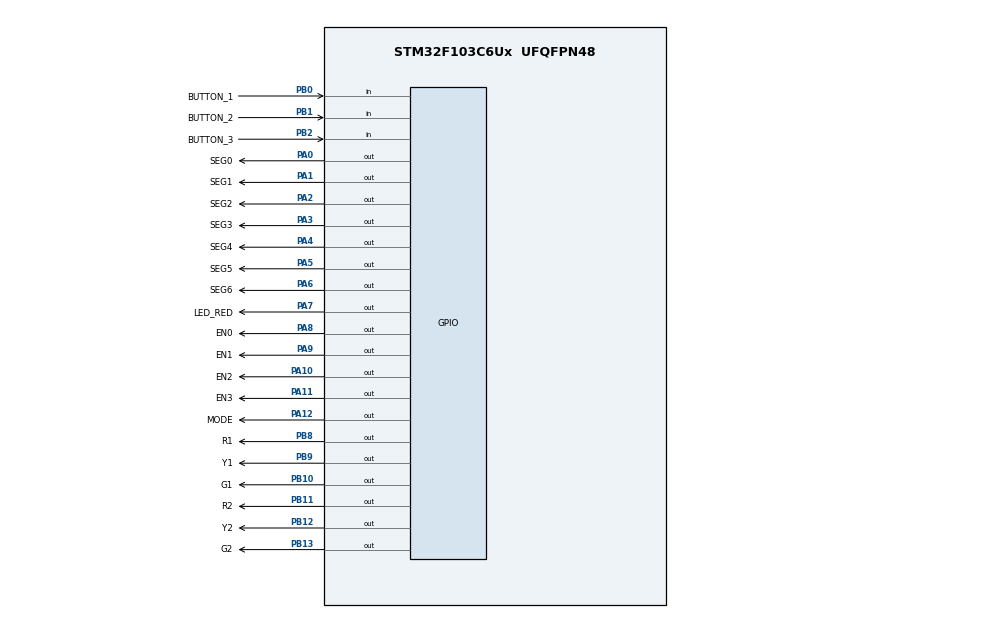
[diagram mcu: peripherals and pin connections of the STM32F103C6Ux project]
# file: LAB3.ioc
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Mcu.Family=STM32F1
Mcu.Name=STM32F103C6Ux
Mcu.Package=UFQFPN48
NVIC.PriorityGroup=NVIC_PRIORITYGROUP_4
NVIC.TIM2_IRQn=true\:0\:0\:false\:false\:true\:true\:true
PA0-WKUP.GPIO_Label=SEG0
PA0-WKUP.Signal=GPIO_Output
PA1.GPIO_Label=SEG1
PA1.Signal=GPIO_Output
PA10.GPIO_Label=EN2
PA10.Signal=GPIO_Output
PA11.GPIO_Label=EN3
PA11.Signal=GPIO_Output
PA12.GPIO_Label=MODE
PA12.Signal=GPIO_Output
PA2.GPIO_Label=SEG2
PA2.Signal=GPIO_Output
PA3.GPIO_Label=SEG3
PA3.Signal=GPIO_Output
PA4.GPIO_Label=SEG4
PA4.Signal=GPIO_Output
PA5.GPIO_Label=SEG5
PA5.Signal=GPIO_Output
PA6.GPIO_Label=SEG6
PA6.Signal=GPIO_Output
PA7.GPIO_Label=LED_RED
PA7.Signal=GPIO_Output
PA8.GPIO_Label=EN0
PA8.Signal=GPIO_Output
PA9.GPIO_Label=EN1
PA9.Signal=GPIO_Output
PB0.GPIO_Label=BUTTON_1
PB0.GPIO_PuPd=GPIO_PULLUP
PB0.Signal=GPIO_Input
PB1.GPIO_Label=BUTTON_2
PB1.GPIO_PuPd=GPIO_PULLUP
PB1.Signal=GPIO_Input
PB10.GPIO_Label=G1
PB10.Signal=GPIO_Output
PB11.GPIO_Label=R2
PB11.Signal=GPIO_Output
PB12.GPIO_Label=Y2
PB12.Signal=GPIO_Output
PB13.GPIO_Label=G2
PB13.Signal=GPIO_Output
PB2.GPIO_Label=BUTTON_3
PB2.GPIO_PuPd=GPIO_PULLUP
PB2.Signal=GPIO_Input
PB8.GPIO_Label=R1
PB8.Signal=GPIO_Output
PB9.GPIO_Label=Y1
PB9.Signal=GPIO_Output
ProjectManager.HeapSize=0x200
ProjectManager.StackSize=0x400
ProjectManager.TargetToolchain=STM32CubeIDE
RCC.APB1Freq_Value=8000000
RCC.APB2Freq_Value=8000000
TIM2.Period=9
TIM2.Prescaler=7999
VP_SYS_VS_ND.Mode=No_Debug
VP_TIM2_VS_ClockSourceINT.Mode=Internal
board=custom

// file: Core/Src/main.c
/* USER CODE BEGIN Header */
/**
  ******************************************************************************
  * @file           : main.c
  * @brief          : Main program body
  ******************************************************************************
  * @attention
  *
  * <h2><center>&copy; Copyright (c) 2024 STMicroelectronics.
  * All rights reserved.</center></h2>
  *
  * This software component is licensed by ST under BSD 3-Clause license,
  * the "License"; You may not use this file except in compliance with the
  * License. You may obtain a copy of the License at:
  *                        opensource.org/licenses/BSD-3-Clause
  *
  ******************************************************************************
  */
/* USER CODE END Header */
#include "main.h"

/* USER CODE BEGIN Includes */
#include "input_processing.h"
#include "led_display.h"
#include "input_reading.h"
#include "timer.h"

/* USER CODE END Includes */

TIM_HandleTypeDef htim2;

void SystemClock_Config(void);
static void MX_GPIO_Init(void);
static void MX_TIM2_Init(void);

int main(void)
{

  /* MCU Configuration--------------------------------------------------------*/

  /* Reset of all peripherals, Initializes the Flash interface and the Systick. */
  HAL_Init();

  /* Configure the system clock */
  SystemClock_Config();

  /* Initialize all configured peripherals */
  MX_GPIO_Init();
  MX_TIM2_Init();
  /* USER CODE BEGIN 2 */
HAL_TIM_Base_Start_IT(&htim2);
  /* USER CODE END 2 */

  /* Infinite loop */
  /* USER CODE BEGIN WHILE */

init_buffer();
  LedTimeDurationInit();
  setTimer0(1);
  setTimer1(1);
  setTimer2(1);
  setTimer3(1);

  while (1)
  {

	  UpdateMode();
		  if (get_timer2_flag()) {
			  LEDScanning();
			  setTimer2(1);
		  }

		  LedDispMode();
		  UpdateDurationValue();

		  if (get_timer1_flag()) {
			  HAL_GPIO_TogglePin(LED_RED_GPIO_Port, LED_RED_Pin);
			  setTimer1(50);
		  }

    /* USER CODE END WHILE */

  }
}

void SystemClock_Config(void)
{
  RCC_OscInitTypeDef RCC_OscInitStruct = {0};
  RCC_ClkInitTypeDef RCC_ClkInitStruct = {0};

  /** Initializes the RCC Oscillators according to the specified parameters
  * in the RCC_OscInitTypeDef structure.
  */
  RCC_OscInitStruct.OscillatorType = RCC_OSCILLATORTYPE_HSI;
  RCC_OscInitStruct.HSIState = RCC_HSI_ON;
  RCC_OscInitStruct.HSICalibrationValue = RCC_HSICALIBRATION_DEFAULT;
  RCC_OscInitStruct.PLL.PLLState = RCC_PLL_NONE;
  if (HAL_RCC_OscConfig(&RCC_OscInitStruct) != HAL_OK)
  {
    Error_Handler();
  }
  /** Initializes the CPU, AHB and APB buses clocks
  */
  RCC_ClkInitStruct.ClockType = RCC_CLOCKTYPE_HCLK|RCC_CLOCKTYPE_SYSCLK
                              |RCC_CLOCKTYPE_PCLK1|RCC_CLOCKTYPE_PCLK2;
  RCC_ClkInitStruct.SYSCLKSource = RCC_SYSCLKSOURCE_HSI;
  RCC_ClkInitStruct.AHBCLKDivider = RCC_SYSCLK_DIV1;
  RCC_ClkInitStruct.APB1CLKDivider = RCC_HCLK_DIV1;
  RCC_ClkInitStruct.APB2CLKDivider = RCC_HCLK_DIV1;

  if (HAL_RCC_ClockConfig(&RCC_ClkInitStruct, FLASH_LATENCY_0) != HAL_OK)
  {
    Error_Handler();
  }
}

static void MX_TIM2_Init(void)
{

  TIM_ClockConfigTypeDef sClockSourceConfig = {0};
  TIM_MasterConfigTypeDef sMasterConfig = {0};

  htim2.Instance = TIM2;
  htim2.Init.Prescaler = 7999;
  htim2.Init.CounterMode = TIM_COUNTERMODE_UP;
  htim2.Init.Period = 9;
  htim2.Init.ClockDivision = TIM_CLOCKDIVISION_DIV1;
  htim2.Init.AutoReloadPreload = TIM_AUTORELOAD_PRELOAD_DISABLE;
  if (HAL_TIM_Base_Init(&htim2) != HAL_OK)
  {
    Error_Handler();
  }
  sClockSourceConfig.ClockSource = TIM_CLOCKSOURCE_INTERNAL;
  if (HAL_TIM_ConfigClockSource(&htim2, &sClockSourceConfig) != HAL_OK)
  {
    Error_Handler();
  }
  sMasterConfig.MasterOutputTrigger = TIM_TRGO_RESET;
  sMasterConfig.MasterSlaveMode = TIM_MASTERSLAVEMODE_DISABLE;
  if (HAL_TIMEx_MasterConfigSynchronization(&htim2, &sMasterConfig) != HAL_OK)
  {
    Error_Handler();
  }

}

static void MX_GPIO_Init(void)
{
  GPIO_InitTypeDef GPIO_InitStruct = {0};

  /* GPIO Ports Clock Enable */
  __HAL_RCC_GPIOA_CLK_ENABLE();
  __HAL_RCC_GPIOB_CLK_ENABLE();

  /*Configure GPIO pin Output Level */
  HAL_GPIO_WritePin(GPIOA, SEG0_Pin|SEG1_Pin|SEG2_Pin|SEG3_Pin
                          |SEG4_Pin|SEG5_Pin|SEG6_Pin|LED_RED_Pin
                          |EN0_Pin|EN1_Pin|EN2_Pin|EN3_Pin
                          |MODE_Pin, GPIO_PIN_RESET);

  /*Configure GPIO pin Output Level */
  HAL_GPIO_WritePin(GPIOB, G1_Pin|R2_Pin|Y2_Pin|G2_Pin
                          |R1_Pin|Y1_Pin, GPIO_PIN_RESET);

  /*Configure GPIO pins : SEG0_Pin SEG1_Pin SEG2_Pin SEG3_Pin
                           SEG4_Pin SEG5_Pin SEG6_Pin LED_RED_Pin
                           EN0_Pin EN1_Pin EN2_Pin EN3_Pin
                           MODE_Pin */
  GPIO_InitStruct.Pin = SEG0_Pin|SEG1_Pin|SEG2_Pin|SEG3_Pin
                          |SEG4_Pin|SEG5_Pin|SEG6_Pin|LED_RED_Pin
                          |EN0_Pin|EN1_Pin|EN2_Pin|EN3_Pin
                          |MODE_Pin;
  GPIO_InitStruct.Mode = GPIO_MODE_OUTPUT_PP;
  GPIO_InitStruct.Pull = GPIO_NOPULL;
  GPIO_InitStruct.Speed = GPIO_SPEED_FREQ_LOW;
  HAL_GPIO_Init(GPIOA, &GPIO_InitStruct);

  /*Configure GPIO pins : BUTTON_1_Pin BUTTON_2_Pin BUTTON_3_Pin */
  GPIO_InitStruct.Pin = BUTTON_1_Pin|BUTTON_2_Pin|BUTTON_3_Pin;
  GPIO_InitStruct.Mode = GPIO_MODE_INPUT;
  GPIO_InitStruct.Pull = GPIO_PULLUP;
  HAL_GPIO_Init(GPIOB, &GPIO_InitStruct);

  /*Configure GPIO pins : G1_Pin R2_Pin Y2_Pin G2_Pin
                           R1_Pin Y1_Pin */
  GPIO_InitStruct.Pin = G1_Pin|R2_Pin|Y2_Pin|G2_Pin
                          |R1_Pin|Y1_Pin;
  GPIO_InitStruct.Mode = GPIO_MODE_OUTPUT_PP;
  GPIO_InitStruct.Pull = GPIO_NOPULL;
  GPIO_InitStruct.Speed = GPIO_SPEED_FREQ_LOW;
  HAL_GPIO_Init(GPIOB, &GPIO_InitStruct);

}

/* USER CODE BEGIN 4 */
void HAL_TIM_PeriodElapsedCallback(TIM_HandleTypeDef *htim) {
	timer_run();

		button_reading();

}

/* USER CODE END 4 */

void Error_Handler(void)
{
  __disable_irq();
  while (1)
  {
  }
}

/************************ (C) COPYRIGHT STMicroelectronics *****END OF FILE****/
